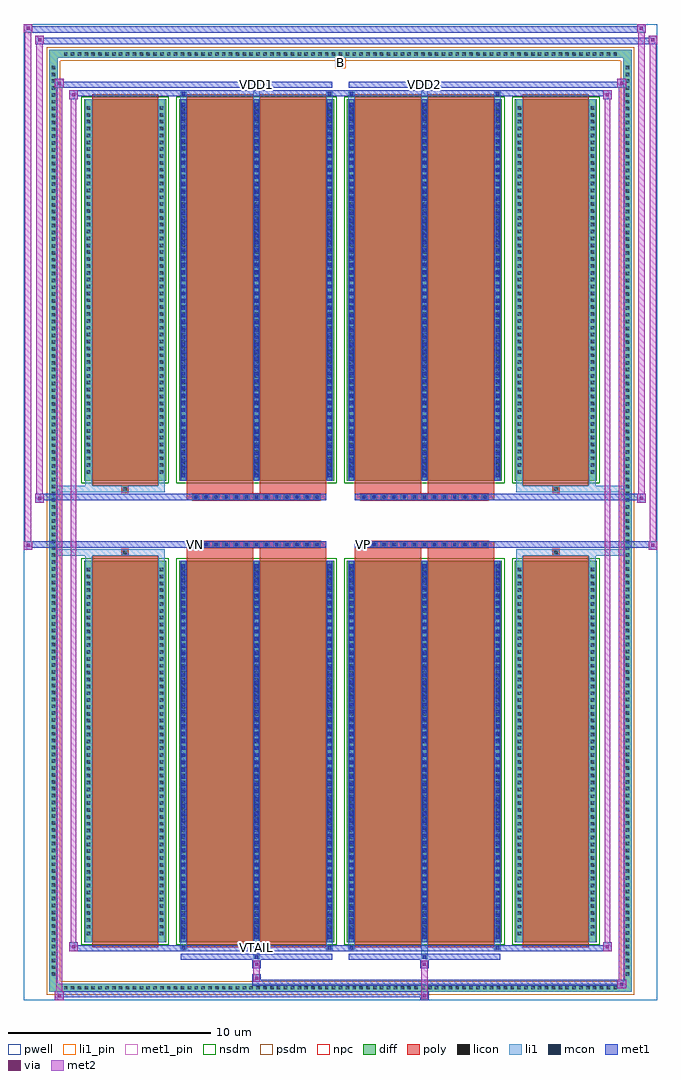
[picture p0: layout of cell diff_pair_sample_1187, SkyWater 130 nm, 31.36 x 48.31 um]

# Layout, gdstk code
import gdstk
lib = gdstk.Library(unit=1e-6, precision=5e-09)
def R(c, l, rs):  # rectangles x0, y0, x1, y1
    for r in rs: c.add(gdstk.rectangle(r[:2], r[2:], *l))
def A(c, l, x, y, w, h, nx, ny, dx, dy):  # array of equal rectangles
    R(c, l, [(x+i*dx, y+j*dy, x+i*dx+w, y+j*dy+h) for i in range(nx) for j in range(ny)])
def P(c, l, *ps):  # polygons
    for p in ps: c.add(gdstk.Polygon(p, *l))
pwell = (64, 44)
diff = (65, 20)
poly = (66, 20)
licon = (66, 44)
li1_pin = (67, 16)
li1 = (67, 20)
mcon = (67, 44)
met1_pin = (68, 16)
met1 = (68, 20)
via = (68, 44)
met2 = (69, 20)
nsdm = (93, 44)
psdm = (94, 20)
npc = (95, 20)

diff_pair_sample_1187 = lib.new_cell('diff_pair_sample_1187')
R(diff_pair_sample_1187, pwell, [(-15.68,-23.72,15.68,24.59), (-13,-21.91,-0.01,-0.805), (0.01,-21.91,13,-0.805), (-13,0.805,-0.01,21.91), (0.01,0.805,13,21.91)])
A(diff_pair_sample_1187, diff, -13.805, -23.32, 0.41, 0.41, 81, 2, 0.34, 46.23)
A(diff_pair_sample_1187, diff, -14.41, -22.645, 0.41, 0.41, 1, 133, 0, 0.34)
A(diff_pair_sample_1187, diff, 14, -22.645, 0.41, 0.41, 1, 133, 0, 0.34)
R(diff_pair_sample_1187, diff, [(-13.805,-23.32,13.805,-22.91), (-14.41,-22.645,-14,22.645), (14,-22.645,14.41,22.645), (-12.69,-20.865,-8.63,-1.985), (-7.99,-20.865,-0.32,-1.985), (0.32,-20.865,7.99,-1.985), (8.63,-20.865,12.69,-1.985), (-12.69,1.985,-8.63,20.865), (-7.99,1.985,-0.32,20.865), (0.32,1.985,7.99,20.865), (8.63,1.985,12.69,20.865), (-13.805,22.91,13.805,23.32)])
P(diff_pair_sample_1187, diff, [(14.41,23.32),(-14.41,23.32),(-14.41,-22.91),(-14,-22.91),(-14,22.91),(14,22.91),(14,-22.91),(-14,-22.91),(-14.41,-22.91),(-14.41,-23.32),(14.41,-23.32)])
A(diff_pair_sample_1187, poly, -7.32, -1.335, 0.33, 0.33, 13, 2, 0.5, 2.34)
A(diff_pair_sample_1187, poly, 0.99, -1.335, 0.33, 0.33, 13, 2, 0.5, 2.34)
R(diff_pair_sample_1187, poly, [(-12.3,-21.115,-9.02,-1.735), (-7.6,-21.115,-4.32,-1.735), (-3.99,-21.115,-0.71,-1.735), (0.71,-21.115,3.99,-1.735), (4.32,-21.115,7.6,-1.735), (9.02,-21.115,12.3,-1.735), (-10.825,-1.735,-10.495,-1.405), (-10.825,-1.735,-10.495,-1.405), (-7.6,-1.735,-4.32,-1.335), (-3.99,-1.735,-0.71,-1.335), (0.71,-1.735,3.99,-1.335), (4.32,-1.735,7.6,-1.335), (10.495,-1.735,10.825,-1.405), (10.495,-1.735,10.825,-1.405), (-7.6,-1.335,-0.71,-1.005), (0.71,-1.335,7.6,-1.005), (-7.6,1.005,-0.71,1.335), (0.71,1.005,7.6,1.335), (-7.6,1.335,-4.32,1.735), (-3.99,1.335,-0.71,1.735), (0.71,1.335,3.99,1.735), (4.32,1.335,7.6,1.735), (-10.825,1.405,-10.495,1.735), (-10.825,1.405,-10.495,1.735), (10.495,1.405,10.825,1.735), (10.495,1.405,10.825,1.735), (-12.3,1.735,-9.02,21.115), (-7.6,1.735,-4.32,21.115), (-3.99,1.735,-0.71,21.115), (0.71,1.735,3.99,21.115), (4.32,1.735,7.6,21.115), (9.02,1.735,12.3,21.115)])
A(diff_pair_sample_1187, licon, -13.685, -23.2, 0.17, 0.17, 81, 2, 0.34, 46.23)
A(diff_pair_sample_1187, licon, -14.29, -22.525, 0.17, 0.17, 1, 133, 0, 0.34)
A(diff_pair_sample_1187, licon, 14.12, -22.525, 0.17, 0.17, 1, 133, 0, 0.34)
A(diff_pair_sample_1187, licon, -12.55, -20.52, 0.17, 0.17, 1, 54, 0, 0.34)
A(diff_pair_sample_1187, licon, -8.94, -20.52, 0.17, 0.17, 1, 54, 0, 0.34)
A(diff_pair_sample_1187, licon, -7.85, -20.52, 0.17, 0.17, 3, 54, 3.61, 0.34)
A(diff_pair_sample_1187, licon, 0.46, -20.52, 0.17, 0.17, 3, 54, 3.61, 0.34)
A(diff_pair_sample_1187, licon, 8.77, -20.52, 0.17, 0.17, 1, 54, 0, 0.34)
A(diff_pair_sample_1187, licon, 12.38, -20.52, 0.17, 0.17, 1, 54, 0, 0.34)
A(diff_pair_sample_1187, licon, -7.24, -1.255, 0.17, 0.17, 13, 2, 0.5, 2.34)
A(diff_pair_sample_1187, licon, 1.07, -1.255, 0.17, 0.17, 13, 2, 0.5, 2.34)
A(diff_pair_sample_1187, licon, -12.55, 2.33, 0.17, 0.17, 1, 54, 0, 0.34)
A(diff_pair_sample_1187, licon, -8.94, 2.33, 0.17, 0.17, 1, 54, 0, 0.34)
A(diff_pair_sample_1187, licon, -7.85, 2.33, 0.17, 0.17, 3, 54, 3.61, 0.34)
A(diff_pair_sample_1187, licon, 0.46, 2.33, 0.17, 0.17, 3, 54, 3.61, 0.34)
A(diff_pair_sample_1187, licon, 8.77, 2.33, 0.17, 0.17, 1, 54, 0, 0.34)
A(diff_pair_sample_1187, licon, 12.38, 2.33, 0.17, 0.17, 1, 54, 0, 0.34)
R(diff_pair_sample_1187, licon, [(-10.745,-1.655,-10.575,-1.485), (10.575,-1.655,10.745,-1.485), (-10.745,1.485,-10.575,1.655), (10.575,1.485,10.745,1.655)])
R(diff_pair_sample_1187, li1_pin, [(-0.25,22.41,0.25,22.91)])
A(diff_pair_sample_1187, li1, -13.765, -23.28, 0.33, 0.33, 81, 2, 0.34, 46.23)
A(diff_pair_sample_1187, li1, -14.37, -22.605, 0.33, 0.33, 1, 133, 0, 0.34)
A(diff_pair_sample_1187, li1, 14.04, -22.605, 0.33, 0.33, 1, 133, 0, 0.34)
A(diff_pair_sample_1187, li1, -7.93, -20.865, 0.33, 18.88, 3, 2, 3.61, 22.85)
A(diff_pair_sample_1187, li1, 0.38, -20.865, 0.33, 18.88, 3, 2, 3.61, 22.85)
A(diff_pair_sample_1187, li1, -7.85, -20.69, 0.17, 0.17, 3, 52, 3.61, 0.36)
A(diff_pair_sample_1187, li1, -7.85, -20.69, 0.17, 18.53, 3, 2, 3.61, 22.85)
A(diff_pair_sample_1187, li1, 0.46, -20.69, 0.17, 0.17, 3, 52, 3.61, 0.36)
A(diff_pair_sample_1187, li1, 0.46, -20.69, 0.17, 18.53, 3, 2, 3.61, 22.85)
A(diff_pair_sample_1187, li1, -12.63, -20.6, 0.33, 0.33, 1, 54, 0, 0.34)
A(diff_pair_sample_1187, li1, -9.02, -20.6, 0.33, 0.33, 1, 54, 0, 0.34)
A(diff_pair_sample_1187, li1, -7.93, -20.6, 0.33, 0.33, 3, 54, 3.61, 0.34)
A(diff_pair_sample_1187, li1, 0.38, -20.6, 0.33, 0.33, 3, 54, 3.61, 0.34)
A(diff_pair_sample_1187, li1, 8.69, -20.6, 0.33, 0.33, 1, 54, 0, 0.34)
A(diff_pair_sample_1187, li1, 12.3, -20.6, 0.33, 0.33, 1, 54, 0, 0.34)
A(diff_pair_sample_1187, li1, -7.32, -1.335, 0.33, 0.33, 13, 2, 0.5, 2.34)
A(diff_pair_sample_1187, li1, 0.99, -1.335, 0.33, 0.33, 13, 2, 0.5, 2.34)
A(diff_pair_sample_1187, li1, -7.85, 2.16, 0.17, 0.17, 3, 52, 3.61, 0.36)
A(diff_pair_sample_1187, li1, 0.46, 2.16, 0.17, 0.17, 3, 52, 3.61, 0.36)
A(diff_pair_sample_1187, li1, -12.63, 2.25, 0.33, 0.33, 1, 54, 0, 0.34)
A(diff_pair_sample_1187, li1, -9.02, 2.25, 0.33, 0.33, 1, 54, 0, 0.34)
A(diff_pair_sample_1187, li1, -7.93, 2.25, 0.33, 0.33, 3, 54, 3.61, 0.34)
A(diff_pair_sample_1187, li1, 0.38, 2.25, 0.33, 0.33, 3, 54, 3.61, 0.34)
A(diff_pair_sample_1187, li1, 8.69, 2.25, 0.33, 0.33, 1, 54, 0, 0.34)
A(diff_pair_sample_1187, li1, 12.3, 2.25, 0.33, 0.33, 1, 54, 0, 0.34)
R(diff_pair_sample_1187, li1, [(-14.41,-23.32,-14,-22.91), (-14.41,-23.32,-14,-22.91), (-14,-23.32,14,-22.91), (14,-23.32,14.41,-22.91), (14,-23.32,14.41,-22.91), (-14.41,-22.91,-14,22.91), (14,-22.91,14.41,22.91), (-4.32,-21.67,-3.99,-20.865), (-4.24,-21.67,-4.07,-21.5), (3.99,-21.67,4.32,-20.865), (4.07,-21.67,4.24,-21.5), (-7.93,-21.24,-7.6,-20.865), (-7.85,-21.24,-7.68,-21.07), (-0.71,-21.24,-0.38,-20.865), (-0.63,-21.24,-0.46,-21.07), (0.38,-21.24,0.71,-20.865), (0.46,-21.24,0.63,-21.07), (7.6,-21.24,7.93,-20.865), (7.68,-21.24,7.85,-21.07), (-12.63,-20.865,-12.3,-1.985), (-9.02,-20.865,-8.69,-1.985), (8.69,-20.865,9.02,-1.985), (12.3,-20.865,12.63,-1.985), (-12.63,-1.985,-12.3,-1.405), (-9.02,-1.985,-8.69,-1.405), (8.69,-1.985,9.02,-1.405), (12.3,-1.985,12.63,-1.405), (-14.41,-1.735,-10.825,-1.405), (-12.63,-1.735,-10.825,-1.405), (-10.825,-1.735,-10.495,-1.405), (-10.495,-1.735,-8.69,-1.405), (8.69,-1.735,10.495,-1.405), (10.495,-1.735,10.825,-1.405), (10.495,-1.735,14.41,-1.405), (10.825,-1.735,12.63,-1.405), (-14.41,1.405,-10.825,1.735), (-12.63,1.405,-10.825,1.735), (-12.63,1.405,-12.3,1.985), (-10.825,1.405,-10.495,1.735), (-10.495,1.405,-8.69,1.735), (-9.02,1.405,-8.69,1.985), (8.69,1.405,10.495,1.735), (8.69,1.405,9.02,1.985), (10.495,1.405,10.825,1.735), (10.495,1.405,14.41,1.735), (10.825,1.405,12.63,1.735), (12.3,1.405,12.63,1.985), (-12.63,1.985,-12.3,20.865), (-9.02,1.985,-8.69,20.865), (8.69,1.985,9.02,20.865), (12.3,1.985,12.63,20.865), (-7.93,20.865,-7.6,21.24), (-4.32,20.865,-3.99,21.67), (-0.71,20.865,-0.38,21.24), (0.38,20.865,0.71,21.24), (3.99,20.865,4.32,21.67), (7.6,20.865,7.93,21.24), (-7.85,21.07,-7.68,21.24), (-0.63,21.07,-0.46,21.24), (0.46,21.07,0.63,21.24), (7.68,21.07,7.85,21.24), (-4.24,21.5,-4.07,21.67), (4.07,21.5,4.24,21.67), (-14.41,22.91,-14,23.32), (-14.41,22.91,-14,23.32), (-14,22.91,14,23.32), (14,22.91,14.41,23.32), (14,22.91,14.41,23.32)])
A(diff_pair_sample_1187, mcon, -7.85, -20.69, 0.17, 0.17, 3, 52, 3.61, 0.36)
A(diff_pair_sample_1187, mcon, 0.46, -20.69, 0.17, 0.17, 3, 52, 3.61, 0.36)
A(diff_pair_sample_1187, mcon, -7.24, -1.255, 0.17, 0.17, 13, 2, 0.5, 2.34)
A(diff_pair_sample_1187, mcon, 1.07, -1.255, 0.17, 0.17, 13, 2, 0.5, 2.34)
A(diff_pair_sample_1187, mcon, -7.85, 2.16, 0.17, 0.17, 3, 52, 3.61, 0.36)
A(diff_pair_sample_1187, mcon, 0.46, 2.16, 0.17, 0.17, 3, 52, 3.61, 0.36)
R(diff_pair_sample_1187, mcon, [(-4.24,-21.67,-4.07,-21.5), (4.07,-21.67,4.24,-21.5), (-7.85,-21.24,-7.68,-21.07), (-0.63,-21.24,-0.46,-21.07), (0.46,-21.24,0.63,-21.07), (7.68,-21.24,7.85,-21.07), (-7.85,21.07,-7.68,21.24), (-0.63,21.07,-0.46,21.24), (0.46,21.07,0.63,21.24), (7.68,21.07,7.85,21.24), (-4.24,21.5,-4.07,21.67), (4.07,21.5,4.24,21.67)])
R(diff_pair_sample_1187, met1_pin, [(-4.29,-21.28,-4.02,-21.01), (-7.29,-1.295,-7.02,-1.025), (1.02,-1.295,1.29,-1.025), (-4.29,21.46,-4.02,21.73), (4.02,21.46,4.29,21.73)])
A(diff_pair_sample_1187, met1, -7.91, -20.865, 0.29, 18.88, 3, 2, 3.61, 22.85)
A(diff_pair_sample_1187, met1, 0.4, -20.865, 0.29, 18.88, 3, 2, 3.61, 22.85)
A(diff_pair_sample_1187, met1, -7.91, -20.75, 0.29, 0.29, 3, 52, 3.61, 0.36)
A(diff_pair_sample_1187, met1, 0.4, -20.75, 0.29, 0.29, 3, 52, 3.61, 0.36)
A(diff_pair_sample_1187, met1, -7.3, -1.315, 0.29, 0.29, 13, 2, 0.5, 2.34)
A(diff_pair_sample_1187, met1, 1.01, -1.315, 0.29, 0.29, 13, 2, 0.5, 2.34)
A(diff_pair_sample_1187, met1, -7.91, 2.1, 0.29, 0.29, 3, 52, 3.61, 0.36)
A(diff_pair_sample_1187, met1, 0.4, 2.1, 0.29, 0.29, 3, 52, 3.61, 0.36)
R(diff_pair_sample_1187, met1, [(-14.14,-23.72,-13.71,-23.29), (3.94,-23.72,4.37,-23.29), (-14.14,-23.58,4.37,-23.29), (13.71,-23.15,14.14,-22.72), (-4.37,-23.01,14.14,-22.72), (-4.37,-22.87,-3.94,-22.44), (-4.37,-22.16,-3.94,-21.73), (3.94,-22.16,4.37,-21.73), (-7.91,-21.73,-0.4,-21.44), (-4.3,-21.73,-4.01,-21.44), (0.4,-21.73,7.91,-21.44), (4.01,-21.73,4.3,-21.44), (-13.43,-21.3,-13,-20.87), (-13.43,-21.3,-7.91,-21.01), (-7.91,-21.3,-7.62,-21.01), (-7.91,-21.3,-0.4,-21.01), (-0.69,-21.3,-0.4,-21.01), (-0.4,-21.3,0.4,-21.01), (0.4,-21.3,0.69,-21.01), (0.4,-21.3,7.91,-21.01), (7.62,-21.3,7.91,-21.01), (7.91,-21.3,13.43,-21.01), (13,-21.3,13.43,-20.87), (-15.68,-1.435,-15.25,-1.005), (15.25,-1.435,15.68,-1.005), (-15.68,-1.335,-0.71,-1.005), (-7.6,-1.335,-0.71,-1.005), (0.71,-1.335,7.6,-1.005), (0.71,-1.335,15.68,-1.005), (-15.11,0.905,-14.68,1.335), (14.68,0.905,15.11,1.335), (-15.11,1.005,-7.6,1.335), (-7.6,1.005,-0.71,1.335), (0.71,1.005,7.6,1.335), (7.6,1.005,15.11,1.335), (-13.43,20.87,-13,21.3), (13,20.87,13.43,21.3), (-13.43,21.01,-7.91,21.3), (-7.91,21.01,-7.62,21.3), (-7.91,21.01,-0.4,21.3), (-0.69,21.01,-0.4,21.3), (-0.4,21.01,0.4,21.3), (0.4,21.01,0.69,21.3), (0.4,21.01,7.91,21.3), (7.62,21.01,7.91,21.3), (7.91,21.01,13.43,21.3), (-14.14,21.44,-13.71,21.87), (-14.14,21.44,-7.91,21.73), (-7.91,21.44,-0.4,21.73), (-4.3,21.44,-4.01,21.73), (0.4,21.44,7.91,21.73), (4.01,21.44,4.3,21.73), (7.91,21.44,14.14,21.73), (13.71,21.44,14.14,21.87), (-15.11,23.59,-14.68,24.02), (-15.11,23.59,-13,23.92), (-13,23.59,13,23.92), (13,23.59,15.68,23.92), (15.25,23.59,15.68,24.02), (-15.68,24.16,-15.25,24.59), (-15.68,24.16,-13,24.49), (-13,24.16,13,24.49), (13,24.16,15.11,24.49), (14.68,24.16,15.11,24.59)])
R(diff_pair_sample_1187, via, [(-14,-23.58,-13.85,-23.43), (4.08,-23.58,4.23,-23.43), (13.85,-23.01,14,-22.86), (-4.23,-22.73,-4.08,-22.58), (-4.23,-22.02,-4.08,-21.87), (4.08,-22.02,4.23,-21.87), (-13.29,-21.16,-13.14,-21.01), (13.14,-21.16,13.29,-21.01), (-15.54,-1.295,-15.39,-1.145), (15.39,-1.295,15.54,-1.145), (-14.97,1.045,-14.82,1.195), (14.82,1.045,14.97,1.195), (-13.29,21.01,-13.14,21.16), (13.14,21.01,13.29,21.16), (-14,21.58,-13.85,21.73), (13.85,21.58,14,21.73), (-14.97,23.73,-14.82,23.88), (15.39,23.73,15.54,23.88), (-15.54,24.3,-15.39,24.45), (14.82,24.3,14.97,24.45)])
R(diff_pair_sample_1187, met2, [(-14.14,-23.72,-13.71,-23.29), (-14.07,-23.72,-13.78,21.87), (-13.78,-23.72,-13.71,-23.29), (-14.09,-23.67,-13.76,-23.34), (3.99,-23.67,4.32,-23.34), (3.99,-23.34,4.32,-22.11), (13.71,-23.15,14.14,-22.72), (13.78,-23.15,14.07,21.87), (14.07,-23.15,14.14,-22.72), (13.76,-23.1,14.09,-22.77), (-4.32,-22.82,-3.99,-22.49), (-4.32,-22.49,-3.99,-22.11), (-4.32,-22.11,-3.99,-21.78), (3.99,-22.11,4.32,-21.78), (-13.43,-21.3,-13,-20.87), (-13.36,-21.3,-13.07,21.3), (-13.07,-21.3,-13,-20.87), (13,-21.3,13.43,-20.87), (13.07,-21.3,13.36,21.3), (13.36,-21.3,13.43,-20.87), (-13.38,-21.25,-13.05,-20.92), (13.05,-21.25,13.38,-20.92), (-15.68,-1.435,-15.25,-1.005), (-15.63,-1.435,-15.3,24.59), (-15.3,-1.435,-15.25,-1.005), (15.25,-1.435,15.68,-1.005), (15.3,-1.435,15.63,24.02), (15.63,-1.435,15.68,-1.005), (-15.63,-1.385,-15.3,-1.055), (15.3,-1.385,15.63,-1.055), (-15.11,0.905,-14.68,1.335), (-15.06,0.905,-14.73,24.02), (-14.73,0.905,-14.68,1.335), (14.68,0.905,15.11,1.335), (14.73,0.905,15.06,24.59), (15.06,0.905,15.11,1.335), (-15.06,0.955,-14.73,1.285), (14.73,0.955,15.06,1.285), (-13.43,20.87,-13,21.3), (-13.07,20.87,-13,21.3), (13,20.87,13.43,21.3), (13.36,20.87,13.43,21.3), (-13.38,20.92,-13.05,21.25), (13.05,20.92,13.38,21.25), (-14.14,21.44,-13.71,21.87), (-13.78,21.44,-13.71,21.87), (13.71,21.44,14.14,21.87), (14.07,21.44,14.14,21.87), (-14.09,21.49,-13.76,21.82), (13.76,21.49,14.09,21.82), (-15.11,23.59,-14.68,24.02), (-14.73,23.59,-14.68,24.02), (15.25,23.59,15.68,24.02), (15.63,23.59,15.68,24.02), (-15.06,23.64,-14.73,23.97), (15.3,23.64,15.63,23.97), (-15.68,24.16,-15.25,24.59), (-15.3,24.16,-15.25,24.59), (14.68,24.16,15.11,24.59), (15.06,24.16,15.11,24.59), (-15.63,24.21,-15.3,24.54), (14.73,24.21,15.06,24.54)])
R(diff_pair_sample_1187, nsdm, [(-12.82,-20.995,-8.5,-1.855), (-8.12,-20.995,-0.19,-1.855), (0.19,-20.995,8.12,-1.855), (8.5,-20.995,12.82,-1.855), (-12.82,1.855,-8.5,20.995), (-8.12,1.855,-0.19,20.995), (0.19,1.855,8.12,20.995), (8.5,1.855,12.82,20.995)])
P(diff_pair_sample_1187, psdm, [(14.54,23.45),(-14.54,23.45),(-14.54,-22.78),(-13.87,-22.78),(-13.87,22.78),(13.87,22.78),(13.87,-22.78),(-13.87,-22.78),(-14.54,-22.78),(-14.54,-23.45),(14.54,-23.45)])
A(diff_pair_sample_1187, npc, -7.34, -1.355, 0.37, 0.37, 13, 2, 0.5, 2.34)
A(diff_pair_sample_1187, npc, 0.97, -1.355, 0.37, 0.37, 13, 2, 0.5, 2.34)
R(diff_pair_sample_1187, npc, [(-10.845,-1.755,-10.475,-1.385), (10.475,-1.755,10.845,-1.385), (-7.34,-1.355,-6.47,-0.985), (-7.34,-1.355,-6.47,-0.985), (-6.84,-1.355,-5.97,-0.985), (-6.84,-1.355,-5.97,-0.985), (-6.34,-1.355,-5.47,-0.985), (-6.34,-1.355,-5.47,-0.985), (-5.84,-1.355,-4.97,-0.985), (-5.84,-1.355,-4.97,-0.985), (-5.34,-1.355,-4.47,-0.985), (-5.34,-1.355,-4.47,-0.985), (-4.84,-1.355,-3.97,-0.985), (-4.84,-1.355,-3.97,-0.985), (-4.34,-1.355,-3.47,-0.985), (-4.34,-1.355,-3.47,-0.985), (-3.84,-1.355,-2.97,-0.985), (-3.84,-1.355,-2.97,-0.985), (-3.34,-1.355,-2.47,-0.985), (-3.34,-1.355,-2.47,-0.985), (-2.84,-1.355,-1.97,-0.985), (-2.84,-1.355,-1.97,-0.985), (-2.34,-1.355,-1.47,-0.985), (-2.34,-1.355,-1.47,-0.985), (-1.84,-1.355,-0.97,-0.985), (-1.84,-1.355,-0.97,-0.985), (0.97,-1.355,1.84,-0.985), (0.97,-1.355,1.84,-0.985), (1.47,-1.355,2.34,-0.985), (1.47,-1.355,2.34,-0.985), (1.97,-1.355,2.84,-0.985), (1.97,-1.355,2.84,-0.985), (2.47,-1.355,3.34,-0.985), (2.47,-1.355,3.34,-0.985), (2.97,-1.355,3.84,-0.985), (2.97,-1.355,3.84,-0.985), (3.47,-1.355,4.34,-0.985), (3.47,-1.355,4.34,-0.985), (3.97,-1.355,4.84,-0.985), (3.97,-1.355,4.84,-0.985), (4.47,-1.355,5.34,-0.985), (4.47,-1.355,5.34,-0.985), (4.97,-1.355,5.84,-0.985), (4.97,-1.355,5.84,-0.985), (5.47,-1.355,6.34,-0.985), (5.47,-1.355,6.34,-0.985), (5.97,-1.355,6.84,-0.985), (5.97,-1.355,6.84,-0.985), (6.47,-1.355,7.34,-0.985), (6.47,-1.355,7.34,-0.985), (-7.34,0.985,-6.47,1.355), (-7.34,0.985,-6.47,1.355), (-6.84,0.985,-5.97,1.355), (-6.84,0.985,-5.97,1.355), (-6.34,0.985,-5.47,1.355), (-6.34,0.985,-5.47,1.355), (-5.84,0.985,-4.97,1.355), (-5.84,0.985,-4.97,1.355), (-5.34,0.985,-4.47,1.355), (-5.34,0.985,-4.47,1.355), (-4.84,0.985,-3.97,1.355), (-4.84,0.985,-3.97,1.355), (-4.34,0.985,-3.47,1.355), (-4.34,0.985,-3.47,1.355), (-3.84,0.985,-2.97,1.355), (-3.84,0.985,-2.97,1.355), (-3.34,0.985,-2.47,1.355), (-3.34,0.985,-2.47,1.355), (-2.84,0.985,-1.97,1.355), (-2.84,0.985,-1.97,1.355), (-2.34,0.985,-1.47,1.355), (-2.34,0.985,-1.47,1.355), (-1.84,0.985,-0.97,1.355), (-1.84,0.985,-0.97,1.355), (0.97,0.985,1.84,1.355), (0.97,0.985,1.84,1.355), (1.47,0.985,2.34,1.355), (1.47,0.985,2.34,1.355), (1.97,0.985,2.84,1.355), (1.97,0.985,2.84,1.355), (2.47,0.985,3.34,1.355), (2.47,0.985,3.34,1.355), (2.97,0.985,3.84,1.355), (2.97,0.985,3.84,1.355), (3.47,0.985,4.34,1.355), (3.47,0.985,4.34,1.355), (3.97,0.985,4.84,1.355), (3.97,0.985,4.84,1.355), (4.47,0.985,5.34,1.355), (4.47,0.985,5.34,1.355), (4.97,0.985,5.84,1.355), (4.97,0.985,5.84,1.355), (5.47,0.985,6.34,1.355), (5.47,0.985,6.34,1.355), (5.97,0.985,6.84,1.355), (5.97,0.985,6.84,1.355), (6.47,0.985,7.34,1.355), (6.47,0.985,7.34,1.355), (-10.845,1.385,-10.475,1.755), (10.475,1.385,10.845,1.755)])
diff_pair_sample_1187.add(gdstk.Label('VTAIL', (-4.155,-21.145), layer=68, texttype=5))
diff_pair_sample_1187.add(gdstk.Label('VN', (-7.155,-1.16), layer=68, texttype=5))
diff_pair_sample_1187.add(gdstk.Label('VP', (1.155,-1.16), layer=68, texttype=5))
diff_pair_sample_1187.add(gdstk.Label('B', (0,22.66), layer=67, texttype=5))
diff_pair_sample_1187.add(gdstk.Label('VDD2', (4.155,21.595), layer=68, texttype=5))
diff_pair_sample_1187.add(gdstk.Label('VDD1', (-4.155,21.595), layer=68, texttype=5))

lib.write_gds('diff_pair_sample_1187.gds')
